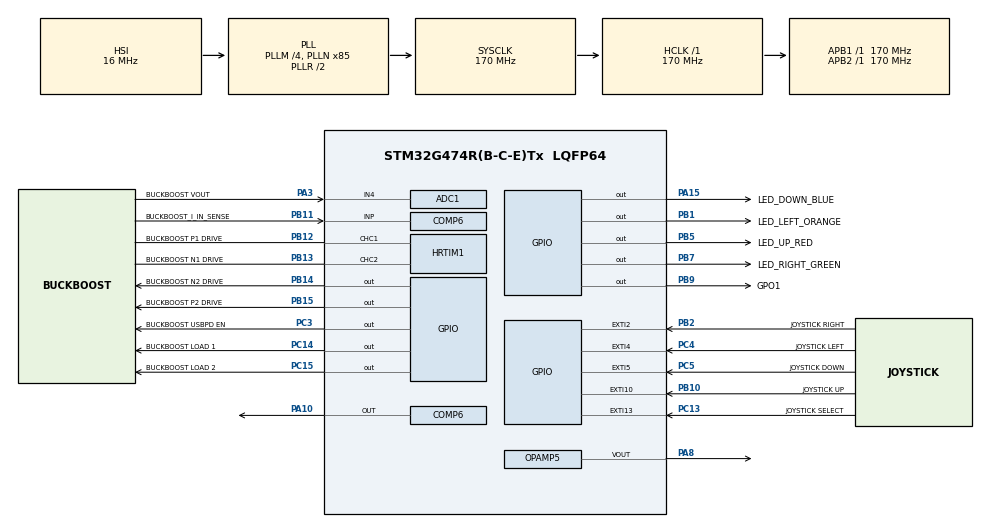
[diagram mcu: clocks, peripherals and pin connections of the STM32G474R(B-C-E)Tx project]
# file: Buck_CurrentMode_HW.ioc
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ADC1.Channel-0\#ChannelRegularConversion=ADC_CHANNEL_4
ADC1.DMAContinuousRequests=ENABLE
ADC1.DataAlign=ADC_DATAALIGN_LEFT
ADC1.ExternalTrigConv=ADC_EXTERNALTRIG_HRTIM_TRG1
ADC1.NbrOfConversionFlag=1
ADC1.Offset-0\#ChannelRegularConversion=REF
ADC1.OffsetNumber-0\#ChannelRegularConversion=ADC_OFFSET_1
ADC1.Overrun=ADC_OVR_DATA_OVERWRITTEN
ADC1.Rank-0\#ChannelRegularConversion=1
ADC1.SamplingTime-0\#ChannelRegularConversion=ADC_SAMPLETIME_2CYCLES_5
ADC1.master=1
COMP6.Hysteresis=COMP_HYSTERESIS_NONE
COMP6.OutputPol=COMP_OUTPUTPOL_INVERTED
DAC4.DAC_Channel-DAC_OUT2_Int=DAC_CHANNEL_2
DAC4.DAC_Trigger2_OUT2-DAC_OUT2_Int=DAC_TRIGGER_HRTIM_STEP_TRG3
DAC4.DAC_Trigger_OUT2-DAC_OUT2_Int=DAC_TRIGGER_HRTIM_RST_TRG3
DAC4.ResetDataSawtooth2-DAC_OUT2_Int=4000
DAC4.StepDataSawtooth2-DAC_OUT2_Int=66
DAC4.WaveGeneration_OUT2-DAC_OUT2_Int=SawtoothWaveGenerate
Dma.ADC1.0.Direction=DMA_PERIPH_TO_MEMORY
Dma.ADC1.0.EventEnable=DISABLE
Dma.ADC1.0.Instance=DMA1_Channel1
Dma.ADC1.0.MemDataAlignment=DMA_MDATAALIGN_WORD
Dma.ADC1.0.MemInc=DMA_MINC_DISABLE
Dma.ADC1.0.Mode=DMA_CIRCULAR
Dma.ADC1.0.PeriphDataAlignment=DMA_PDATAALIGN_WORD
Dma.ADC1.0.PeriphInc=DMA_PINC_DISABLE
Dma.ADC1.0.Polarity=HAL_DMAMUX_REQ_GEN_RISING
Dma.ADC1.0.Priority=DMA_PRIORITY_LOW
Dma.ADC1.0.RequestNumber=1
Dma.ADC1.0.SignalID=HAL_DMAMUX1_REQ_GEN_EXTI2
Dma.ADC1.0.SyncEnable=DISABLE
Dma.ADC1.0.SyncPolarity=HAL_DMAMUX_SYNC_NO_EVENT
Dma.ADC1.0.SyncRequestNumber=1
Dma.ADC1.0.SyncSignalID=NONE
Dma.Request0=ADC1
HRTIM1.ADCTrigger1_Source1=HRTIM_ADCTRIGGEREVENT13_TIMERC_CMP3
HRTIM1.ADCTrigger_Id1=HRTIM_ADCTRIGGER_1
HRTIM1.CompareUnit1-Output_TC1TC2=HRTIM_COMPAREUNIT_1
HRTIM1.CompareUnit2-Output_TC1TC2=HRTIM_COMPAREUNIT_2
HRTIM1.CompareUnit3-Output_TC1TC2=HRTIM_COMPAREUNIT_3
HRTIM1.CompareUnit4-Output_TC1TC2=HRTIM_COMPAREUNIT_4
HRTIM1.CompareValue1-Output_TC1TC2=21760
HRTIM1.CompareValue2-Output_TC1TC2=1000
HRTIM1.CompareValue3-Output_TC1TC2=2720
HRTIM1.CompareValue4-Output_TC1TC2=1088
HRTIM1.DeadTimeInsertion-Output_TC1TC2=HRTIM_TIMDEADTIMEINSERTION_ENABLED
HRTIM1.DualChannelDacEnableFake_TC-Output_TC1TC2=HRTIM_TIMER_DCDE_ENABLED_FAKE1
HRTIM1.Event3-Output_TC1TC2=HRTIM_EVENT_3
HRTIM1.Event_EEV3=HRTIM_EVENT_3
HRTIM1.FallingValue-Output_TC1TC2=300
HRTIM1.FaultLevel1-Output_TC1TC2=HRTIM_OUTPUTFAULTLEVEL_INACTIVE
HRTIM1.Fault_Line1=__NULL
HRTIM1.Filter3-Output_TC1TC2=HRTIM_TIMEEVFLT_BLANKINGCMP3
HRTIM1.NumberADCTriggerSource1=1
HRTIM1.NumberResetSource1-Output_TC1TC2=2
HRTIM1.NumberSetSource1-Output_TC1TC2=1
HRTIM1.Periode_TC=27200
HRTIM1.ResetOutput1_Source1-Output_TC1TC2=HRTIM_OUTPUTRESET_TIMCMP1
HRTIM1.ResetOutput1_Source2-Output_TC1TC2=HRTIM_OUTPUTRESET_EEV_3
HRTIM1.RisingValue-Output_TC1TC2=75
HRTIM1.SetOutput1_Source1-Output_TC1TC2=HRTIM_OUTPUTSET_TIMCMP4
Mcu.Family=STM32G4
Mcu.Name=STM32G474R(B-C-E)Tx
Mcu.Package=LQFP64
NVIC.ADC1_2_IRQn=true\:0\:0\:false\:false\:true\:true\:false
NVIC.DMA1_Channel1_IRQn=true\:0\:0\:false\:false\:false\:false\:false
NVIC.EXTI15_10_IRQn=true\:0\:0\:false\:false\:true\:true\:true
NVIC.EXTI2_IRQn=true\:0\:0\:false\:false\:true\:true\:true
NVIC.EXTI4_IRQn=true\:0\:0\:false\:false\:true\:true\:true
NVIC.EXTI9_5_IRQn=true\:0\:0\:false\:false\:true\:true\:true
NVIC.FMAC_IRQn=true\:0\:0\:false\:false\:true\:true\:false
NVIC.PriorityGroup=NVIC_PRIORITYGROUP_4
PA1.GPIO_Label=BUCKBOOST VIN
PA1.Signal=ADC1_IN2
PA10.Mode=ExternalOutput
PA10.Signal=COMP6_OUT
PA13.GPIO_Label=T_SWDIO
PA13.Mode=Trace_Asynchronous_SW
PA13.Signal=SYS_JTMS-SWDIO
PA14.GPIO_Label=T_SWCLK
PA14.Mode=Trace_Asynchronous_SW
PA14.Signal=SYS_JTCK-SWCLK
PA15.GPIO_Label=LED_DOWN_BLUE
PA15.GPIO_PuPd=GPIO_NOPULL
PA15.Signal=GPIO_Output
PA2.GPIO_Label=BUCKBOOST I IN AVG
PA2.Signal=ADC1_IN3
PA3.GPIO_Label=BUCKBOOST VOUT
PA3.Mode=IN4-Single-Ended
PA3.Signal=ADC1_IN4
PA8.Mode=Follower-DAC_OUT2-INP
PA8.Signal=OPAMP5_VOUT
PB1.GPIO_Label=LED_LEFT_ORANGE
PB1.GPIO_PuPd=GPIO_NOPULL
PB1.Signal=GPIO_Output
PB10.GPIO_Label=JOYSTICK UP
PB10.GPIO_PuPd=GPIO_PULLUP
PB10.Signal=GPXTI10
PB11.GPIO_Label=BUCKBOOST_I_IN_SENSE
PB11.Mode=INP
PB11.Signal=COMP6_INP
PB12.GPIO_Label=BUCKBOOST P1 DRIVE
PB12.Mode=Output_TC1TC2
PB12.Signal=HRTIM1_CHC1
PB13.GPIO_Label=BUCKBOOST N1 DRIVE
PB13.Mode=Output_TC1TC2
PB13.Signal=HRTIM1_CHC2
PB14.GPIO_Label=BUCKBOOST N2 DRIVE
PB14.Signal=GPIO_Output
PB15.GPIO_Label=BUCKBOOST P2 DRIVE
PB15.Signal=GPIO_Output
PB2.GPIO_Label=JOYSTICK RIGHT
PB2.GPIO_ModeDefaultEXTI=GPIO_MODE_IT_RISING
PB2.GPIO_PuPd=GPIO_PULLUP
PB2.Signal=GPXTI2
PB3.GPIO_Label=T_SWO
PB3.Mode=Trace_Asynchronous_SW
PB3.Signal=SYS_JTDO-SWO
PB5.GPIO_Label=LED_UP_RED
PB5.GPIO_PuPd=GPIO_NOPULL
PB5.Signal=GPIO_Output
PB7.GPIO_Label=LED_RIGHT_GREEN
PB7.GPIO_PuPd=GPIO_NOPULL
PB7.Signal=GPIO_Output
PB9.GPIO_Label=GPO1
PB9.GPIO_Speed=GPIO_SPEED_FREQ_VERY_HIGH
PB9.Signal=GPIO_Output
PC10.Signal=USART3_TX
PC11.Signal=USART3_RX
PC13.GPIO_Label=JOYSTICK SELECT
PC13.GPIO_PuPd=GPIO_PULLUP
PC13.Signal=GPXTI13
PC14-OSC32_IN.GPIO_Label=BUCKBOOST LOAD 1
PC14-OSC32_IN.Signal=GPIO_Output
PC15-OSC32_OUT.GPIO_Label=BUCKBOOST LOAD 2
PC15-OSC32_OUT.Signal=GPIO_Output
PC3.GPIO_Label=BUCKBOOST USBPD EN
PC3.PinState=GPIO_PIN_SET
PC3.Signal=GPIO_Output
PC4.GPIO_Label=JOYSTICK LEFT
PC4.GPIO_PuPd=GPIO_PULLUP
PC4.Signal=GPXTI4
PC5.GPIO_Label=JOYSTICK DOWN
PC5.GPIO_PuPd=GPIO_PULLUP
PC5.Signal=GPXTI5
ProjectManager.HeapSize=0x200
ProjectManager.StackSize=0x400
ProjectManager.TargetToolchain=EWARM V8.32
RCC.ADC12CLockSelection=RCC_ADC12CLKSOURCE_PLL
RCC.ADC12Freq_Value=56666666.666666664
RCC.ADC345Freq_Value=170000000
RCC.AHBFreq_Value=170000000
RCC.APB1Freq_Value=170000000
RCC.APB1TimFreq_Value=170000000
RCC.APB2Freq_Value=170000000
RCC.APB2TimFreq_Value=170000000
RCC.CortexFreq_Value=170000000
RCC.EXTERNAL_CLOCK_VALUE=12288000
RCC.HCLKFreq_Value=170000000
RCC.HSE_VALUE=24000000
RCC.HSI48_VALUE=48000000
RCC.HSI_VALUE=16000000
RCC.LSE_VALUE=32768
RCC.PLLM=RCC_PLLM_DIV4
RCC.PLLN=85
RCC.PLLP=RCC_PLLP_DIV6
RCC.SYSCLKFreq_VALUE=170000000
RCC.SYSCLKSource=RCC_SYSCLKSOURCE_PLLCLK
RCC.USBFreq_Value=170000000
RCC.VCOOutputFreq_Value=340000000
VP_COMP6_VS_DAC4OUT2.Mode=INM_DAC4OUT2
VP_DAC4_VS_DACI2.Mode=DAC_OUT2_Int
VP_FMAC_VS_FMAC.Mode=FMAC_Activate
VP_RTC_VS_RTC_Activate.Mode=RTC_Enabled
VP_SYS_VS_DBSignals.Mode=DisableDeadBatterySignals
board=NUCLEO-G474RE

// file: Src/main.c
/* USER CODE BEGIN Header */
/**
  ******************************************************************************
  * @file           : main.c
  * @brief          : Main program body
  ******************************************************************************
  * @attention
  *
  * <h2><center>&copy; Copyright (c) 2019 STMicroelectronics.
  * All rights reserved.</center></h2>
  *
  * This software component is licensed by ST under BSD 3-Clause license,
  * the "License"; You may not use this file except in compliance with the
  * License. You may obtain a copy of the License at:
  *                        opensource.org/licenses/BSD-3-Clause
  *
  ******************************************************************************
  */
/* USER CODE END Header */

#include "main.h"

/* USER CODE BEGIN Includes */
#include "../../common/STM32G474RE_Discovery.c"
#include "stm32g4xx_it.h"
/* USER CODE END Includes */

/* USER CODE BEGIN PD */
//#define RUN_OPEN_LOOP
/* USER CODE END PD */

ADC_HandleTypeDef hadc1;
DMA_HandleTypeDef hdma_adc1;

COMP_HandleTypeDef hcomp6;

DAC_HandleTypeDef hdac4;

FMAC_HandleTypeDef hfmac;

HRTIM_HandleTypeDef hhrtim1;

OPAMP_HandleTypeDef hopamp5;

RTC_HandleTypeDef hrtc;

/* USER CODE BEGIN PV */
float Vdrop = SLOPE_VPP;
float Vdrop_old = 0.0;
extern G4_Demo_t Demo;

/* FMAC configuration structure */
FMAC_FilterConfigTypeDef sFmacConfig;
DMA_HandleTypeDef hdma_fmac_read;

/* Array of filter coefficients A (feedback coefficients) in Q1.15 format */
static int16_t aFilterCoeffA[COEFF_VECTOR_A_SIZE] = {A1,A2};

/* Array of filter coefficients B (feed-forward taps) in Q1.15 format */
static int16_t aFilterCoeffB[COEFF_VECTOR_B_SIZE] = {(int16_t)-B0,(int16_t)-B1,(int16_t)-B2};

/* Array of output data to preload in Q1.15 format */
static int16_t aOutputDataToPreload[COEFF_VECTOR_A_SIZE] = {0x0000, 0x0000};

/* Expected number of calculated samples */
uint16_t ExpectedCalculatedOutputSize = (uint16_t) 1;
uint32_t *Fmac_Wdata;
int16_t Fmac_output;
int16_t bTransient = 0;

/* USER CODE END PV */

void SystemClock_Config(void);
static void MX_GPIO_Init(void);
static void MX_DMA_Init(void);
static void MX_RTC_Init(void);
static void MX_ADC1_Init(void);
static void MX_HRTIM1_Init(void);
static void MX_FMAC_Init(void);
static void MX_COMP6_Init(void);
static void MX_DAC4_Init(void);
static void MX_OPAMP5_Init(void);
/* USER CODE BEGIN PFP */
extern uint16_t HAL_HRTIM_NsToTicks(HRTIM_HandleTypeDef *hhrtim, uint32_t Timers, int ns);
extern uint16_t HAL_HRTIM_FreqToTicks(HRTIM_HandleTypeDef *hhrtim, uint32_t Timers, int FreqHz);
extern uint16_t HAL_HRTIM_DeadBandNsToTicks(int ns);

/* USER CODE END PFP */

/* USER CODE BEGIN 0 */

/* USER CODE BEGIN 0 */
/**
  * @brief This function handles the loads.
  */
void LoadHandler(void)
{
  switch (Demo.NbrActiveLoad)
  {
  case 2:
    /* Enable Load_1 */
    HAL_GPIO_WritePin(GPIOC, BUCKBOOST_LOAD_1_Pin, GPIO_PIN_SET);
    HAL_GPIO_WritePin(GPIOB, LED_RIGHT_GREEN_Pin, GPIO_PIN_SET);
    /* Enable Load_2 */
    HAL_GPIO_WritePin(GPIOC, BUCKBOOST_LOAD_2_Pin, GPIO_PIN_SET);
    HAL_GPIO_WritePin(GPIOB, LED_LEFT_ORANGE_Pin, GPIO_PIN_SET);
    break;
  case 1:
    /* Enable Load_1 */
    HAL_GPIO_WritePin(GPIOC, BUCKBOOST_LOAD_1_Pin, GPIO_PIN_SET);
    HAL_GPIO_WritePin(GPIOB, LED_RIGHT_GREEN_Pin, GPIO_PIN_SET);
    /* Disable Load_2 */
    HAL_GPIO_WritePin(GPIOC, BUCKBOOST_LOAD_2_Pin, GPIO_PIN_RESET);
    HAL_GPIO_WritePin(GPIOB, LED_LEFT_ORANGE_Pin, GPIO_PIN_RESET);
    break;
  case 0:
  default:
    /* Disable Load_1 */
    HAL_GPIO_WritePin(GPIOC, BUCKBOOST_LOAD_1_Pin, GPIO_PIN_RESET);
    HAL_GPIO_WritePin(GPIOB, LED_RIGHT_GREEN_Pin, GPIO_PIN_RESET);
    /* Disable Load_2 */
    HAL_GPIO_WritePin(GPIOC, BUCKBOOST_LOAD_2_Pin, GPIO_PIN_RESET);
    HAL_GPIO_WritePin(GPIOB, LED_LEFT_ORANGE_Pin, GPIO_PIN_RESET);
    break;
  }
}

/**
  * @brief This function handles System tick timer.
  */
void SysTick_Handler(void)
{
  /* USER CODE BEGIN SysTick_IRQn 0 */

  // If ~512 ms has elapsed, check if we are doing transient load mode
  // and run the load handler
  if (0 == HAL_GetTick() % 512)
  {
    if (Demo.bTransient == 1)
    {
      if (Demo.NbrActiveLoad == 1)
      {
        Demo.NbrActiveLoad = 2;
      }
      else
      {
        Demo.NbrActiveLoad = 1;
      }

      LoadHandler();
    }
  }

  /* USER CODE END SysTick_IRQn 0 */
  HAL_IncTick();
  /* USER CODE BEGIN SysTick_IRQn 1 */

  /* USER CODE END SysTick_IRQn 1 */
}

/**
  * @brief This set the slope for the DAC.
  * @details
  * The sets the total drop across the PWM period required.
  * We use DAC1 channel 1&2 since channel 1 is connected to the external pin
  * but channel 2 is actually used for the controller.
  */
void SetRamp( float SlopeV )
{
  uint16_t update;
  float stepV;
  uint16_t step;
  uint16_t NumUpdates = 75; // Max updates per period is determiend by the max update rate of the DAC

  update = Demo.periodBuck / NumUpdates;
  stepV = SlopeV/NumUpdates;

  /* DacDrop = (Vdrop * 4096*16(fractional)/3.3V) */
  step = (uint16_t)((stepV * DAC_MAX * 16)/3.3);

  /* Update the sawtooth waveform generator with the required step size */
  LL_DAC_SetWaveSawtoothStepData(DAC4, LL_DAC_CHANNEL_2, step);
  __HAL_HRTIM_SETCOMPARE( &hhrtim1, HRTIM_TIMERINDEX_TIMER_C, HRTIM_COMPAREUNIT_2, update);
}

void ConfigFmac2p2z( void )
{

  /* Configure the FMAC peripheral */
  sFmacConfig.InputBaseAddress  = INPUT_BUFFER_BASE;
  sFmacConfig.InputBufferSize   = INPUT_BUFFER_SIZE;
  sFmacConfig.InputThreshold    = INPUT_THRESHOLD;
  sFmacConfig.CoeffBaseAddress  = COEFFICIENT_BUFFER_BASE;
  sFmacConfig.CoeffBufferSize   = COEFFICIENT_BUFFER_SIZE;
  sFmacConfig.OutputBaseAddress = OUTPUT_BUFFER_BASE;
  sFmacConfig.OutputBufferSize  = OUTPUT_BUFFER_SIZE;
  sFmacConfig.OutputThreshold   = OUTPUT_THRESHOLD;
  sFmacConfig.pCoeffA           = aFilterCoeffA;
  sFmacConfig.CoeffASize        = COEFF_VECTOR_A_SIZE;
  sFmacConfig.pCoeffB           = aFilterCoeffB;
  sFmacConfig.CoeffBSize        = COEFF_VECTOR_B_SIZE;
  sFmacConfig.Filter            = FMAC_FUNC_IIR_DIRECT_FORM_1;
  sFmacConfig.InputAccess       = FMAC_BUFFER_ACCESS_NONE;
  sFmacConfig.OutputAccess      = FMAC_BUFFER_ACCESS_IT;
  sFmacConfig.Clip              = FMAC_CLIP_ENABLED;
  sFmacConfig.P                 = COEFF_VECTOR_B_SIZE;
  sFmacConfig.Q                 = COEFF_VECTOR_A_SIZE;
  sFmacConfig.R                 = post_shift;

  if (HAL_FMAC_FilterConfig(&hfmac, &sFmacConfig) != HAL_OK)
  {
    /* Configuration Error */
    Error_Handler();
  }

  /* Preload the input and output buffers */
  if (HAL_FMAC_FilterPreload(&hfmac, NULL, INPUT_BUFFER_SIZE,
                           aOutputDataToPreload, COEFF_VECTOR_A_SIZE) != HAL_OK)
  {
    /* Configuration Error */
    Error_Handler();
  }
  /* Start calculation of IIR filter */
   if (HAL_FMAC_FilterStart(&hfmac,&Fmac_output,&ExpectedCalculatedOutputSize) != HAL_OK)
  {
    /* Processing Error */
    Error_Handler();
  }

  /* We want to disable over and underrun so if we hit a breakpoint we can continue*/
  __HAL_FMAC_DISABLE_IT(&hfmac, FMAC_IT_OVFLIEN|FMAC_IT_UNFLIEN);

}
/* USER CODE END 0 */

int main(void)
{

  /* MCU Configuration--------------------------------------------------------*/

  /* Reset of all peripherals, Initializes the Flash interface and the Systick. */
  HAL_Init();

  /* Configure the system clock */
  SystemClock_Config();

  /* Initialize all configured peripherals */
  MX_GPIO_Init();
  MX_DMA_Init();
  MX_RTC_Init();
  MX_ADC1_Init();
  MX_HRTIM1_Init();
  MX_FMAC_Init();
  MX_COMP6_Init();
  MX_DAC4_Init();
  MX_OPAMP5_Init();
  /* USER CODE BEGIN 2 */

  /* Perform an ADC automatic self-calibration and enable ADC */
  if (HAL_ADCEx_Calibration_Start(&hadc1, ADC_SINGLE_ENDED) != HAL_OK)
  {
    /* Configuration Error */
    Error_Handler();
  }

  /* Configure and start FMAC */
  ConfigFmac2p2z();

#ifndef RUN_OPEN_LOOP
  /* Start the DMA which is used to move ADC result to the FMAC */
  if (HAL_ADC_Start_DMA(&hadc1, (uint32_t *) &hfmac.Instance->WDATA, 1) != HAL_OK)
  {
    /* Configuration Error */
    Error_Handler();
  }
#endif

  /* Disable the DMA interrupts */
  __HAL_DMA_DISABLE_IT(&hdma_adc1, DMA_IT_HT | DMA_IT_TC );

  /* Enables DAC and starts conversion of the channel */
  if (HAL_DAC_Start(&hdac4, DAC_CHANNEL_2) != HAL_OK)
  {
    /* Configuration Error */
    Error_Handler();
  }

  /* Start the comparator to detect the peak current trip threshold */
  if (HAL_COMP_Start(&hcomp6) != HAL_OK)
  {
    /* Configuration Error */
    Error_Handler();
  }

  /* Start the OPAMP which allows us to view the demand peak current value on the scope */
  if (HAL_OPAMP_Start(&hopamp5) != HAL_OK)
  {
    /* Configuration Error */
    Error_Handler();
  }

  /* Calculate PWM period and update timer register */
  Demo.periodBuck = HAL_HRTIM_FreqToTicks(&hhrtim1, HRTIM_TIMERINDEX_TIMER_C, SwitchFreq);
  __HAL_HRTIM_SETPERIOD(&hhrtim1, HRTIM_TIMERINDEX_TIMER_C, Demo.periodBuck);

#ifdef RUN_OPEN_LOOP
  /* Open loop so run with a small fixed duty cycle */
  __HAL_HRTIM_SETCOMPARE(&hhrtim1, HRTIM_TIMERINDEX_TIMER_C, HRTIM_COMPAREUNIT_1, Demo.periodBuck * 5 / 100);
#else
  /* Set max duty to 80% of period */
  __HAL_HRTIM_SETCOMPARE(&hhrtim1, HRTIM_TIMERINDEX_TIMER_C, HRTIM_COMPAREUNIT_1, Demo.periodBuck * 80 / 100);
#endif
  /* Set number of slope compensation steps per period to 75 */
  __HAL_HRTIM_SETCOMPARE(&hhrtim1, HRTIM_TIMERINDEX_TIMER_C, HRTIM_COMPAREUNIT_2, Demo.periodBuck / 75);
  /* Set blanking period */
  __HAL_HRTIM_SETCOMPARE(&hhrtim1, HRTIM_TIMERINDEX_TIMER_C, HRTIM_COMPAREUNIT_3, HAL_HRTIM_NsToTicks(&hhrtim1, HRTIM_TIMERINDEX_TIMER_C,500)); // Allow 300ns for blanking + 200ns for rising edge delay
  /* Set PWM rising edge to 200ns after the start of the period */
  __HAL_HRTIM_SETCOMPARE(&hhrtim1, HRTIM_TIMERINDEX_TIMER_C, HRTIM_COMPAREUNIT_4, HAL_HRTIM_NsToTicks(&hhrtim1, HRTIM_TIMERINDEX_TIMER_C,200)); //200ns after start of period

  /* Start the PWMs */
  HAL_HRTIM_WaveformOutputStart(&hhrtim1, HRTIM_OUTPUT_TC1 | HRTIM_OUTPUT_TC2); // Enable output
  HAL_HRTIM_WaveformCounterStart(&hhrtim1, HRTIM_TIMERID_TIMER_C); // Enable counter

  /* Enable T6 for Buck only mode usage */
  HAL_GPIO_WritePin(GPIOB, BUCKBOOST_P2_DRIVE_Pin, GPIO_PIN_SET);

  /* USER CODE END 2 */

  /* Infinite loop */
  /* USER CODE BEGIN WHILE */
  while (1)
  {
    if (bTransient)
    {
      // Toggle blue LED
      HAL_GPIO_WritePin(GPIOA, LED_DOWN_BLUE_Pin, GPIO_PIN_SET);

      // Toggle both loads
      HAL_GPIO_TogglePin(GPIOC, BUCKBOOST_LOAD_1_Pin);
      HAL_GPIO_TogglePin(GPIOC, BUCKBOOST_LOAD_2_Pin);
      HAL_GPIO_TogglePin(GPIOB, LED_RIGHT_GREEN_Pin);
      HAL_GPIO_TogglePin(GPIOB, LED_LEFT_ORANGE_Pin);

      // Delay
      HAL_Delay(500);
    } else {
      // Clear blue LED
      HAL_GPIO_WritePin(GPIOA, LED_DOWN_BLUE_Pin, GPIO_PIN_RESET);
    }

	/* If the user has updated the amount of slope compensation then call SetRamp() to update slope generator */
    if (Vdrop != Vdrop_old)
    {
      SetRamp( Vdrop );
      Vdrop_old = Vdrop;
    }

    /* USER CODE END WHILE */

  }
}

void SystemClock_Config(void)
{
  RCC_OscInitTypeDef RCC_OscInitStruct = {0};
  RCC_ClkInitTypeDef RCC_ClkInitStruct = {0};
  RCC_PeriphCLKInitTypeDef PeriphClkInit = {0};

  /** Configure the main internal regulator output voltage
  */
  HAL_PWREx_ControlVoltageScaling(PWR_REGULATOR_VOLTAGE_SCALE1_BOOST);
  /** Initializes the CPU, AHB and APB busses clocks
  */
  RCC_OscInitStruct.OscillatorType = RCC_OSCILLATORTYPE_HSI|RCC_OSCILLATORTYPE_LSI;
  RCC_OscInitStruct.HSIState = RCC_HSI_ON;
  RCC_OscInitStruct.HSICalibrationValue = RCC_HSICALIBRATION_DEFAULT;
  RCC_OscInitStruct.LSIState = RCC_LSI_ON;
  RCC_OscInitStruct.PLL.PLLState = RCC_PLL_ON;
  RCC_OscInitStruct.PLL.PLLSource = RCC_PLLSOURCE_HSI;
  RCC_OscInitStruct.PLL.PLLM = RCC_PLLM_DIV4;
  RCC_OscInitStruct.PLL.PLLN = 85;
  RCC_OscInitStruct.PLL.PLLP = RCC_PLLP_DIV6;
  RCC_OscInitStruct.PLL.PLLQ = RCC_PLLQ_DIV2;
  RCC_OscInitStruct.PLL.PLLR = RCC_PLLR_DIV2;
  if (HAL_RCC_OscConfig(&RCC_OscInitStruct) != HAL_OK)
  {
    Error_Handler();
  }
  /** Initializes the CPU, AHB and APB busses clocks
  */
  RCC_ClkInitStruct.ClockType = RCC_CLOCKTYPE_HCLK|RCC_CLOCKTYPE_SYSCLK
                              |RCC_CLOCKTYPE_PCLK1|RCC_CLOCKTYPE_PCLK2;
  RCC_ClkInitStruct.SYSCLKSource = RCC_SYSCLKSOURCE_PLLCLK;
  RCC_ClkInitStruct.AHBCLKDivider = RCC_SYSCLK_DIV1;
  RCC_ClkInitStruct.APB1CLKDivider = RCC_HCLK_DIV1;
  RCC_ClkInitStruct.APB2CLKDivider = RCC_HCLK_DIV1;

  if (HAL_RCC_ClockConfig(&RCC_ClkInitStruct, FLASH_LATENCY_8) != HAL_OK)
  {
    Error_Handler();
  }
  /** Initializes the peripherals clocks
  */
  PeriphClkInit.PeriphClockSelection = RCC_PERIPHCLK_RTC|RCC_PERIPHCLK_ADC12;
  PeriphClkInit.Adc12ClockSelection = RCC_ADC12CLKSOURCE_PLL;
  PeriphClkInit.RTCClockSelection = RCC_RTCCLKSOURCE_LSI;
  if (HAL_RCCEx_PeriphCLKConfig(&PeriphClkInit) != HAL_OK)
  {
    Error_Handler();
  }
}

static void MX_ADC1_Init(void)
{

  ADC_MultiModeTypeDef multimode = {0};
  ADC_ChannelConfTypeDef sConfig = {0};

  /** Common config
  */
  hadc1.Instance = ADC1;
  hadc1.Init.ClockPrescaler = ADC_CLOCK_ASYNC_DIV1;
  hadc1.Init.Resolution = ADC_RESOLUTION_12B;
  hadc1.Init.DataAlign = ADC_DATAALIGN_LEFT;
  hadc1.Init.GainCompensation = 0;
  hadc1.Init.ScanConvMode = ADC_SCAN_DISABLE;
  hadc1.Init.EOCSelection = ADC_EOC_SINGLE_CONV;
  hadc1.Init.LowPowerAutoWait = DISABLE;
  hadc1.Init.ContinuousConvMode = DISABLE;
  hadc1.Init.NbrOfConversion = 1;
  hadc1.Init.DiscontinuousConvMode = DISABLE;
  hadc1.Init.ExternalTrigConv = ADC_EXTERNALTRIG_HRTIM_TRG1;
  hadc1.Init.ExternalTrigConvEdge = ADC_EXTERNALTRIGCONVEDGE_RISING;
  hadc1.Init.DMAContinuousRequests = ENABLE;
  hadc1.Init.Overrun = ADC_OVR_DATA_OVERWRITTEN;
  hadc1.Init.OversamplingMode = DISABLE;
  if (HAL_ADC_Init(&hadc1) != HAL_OK)
  {
    Error_Handler();
  }
  /** Configure the ADC multi-mode
  */
  multimode.Mode = ADC_MODE_INDEPENDENT;
  if (HAL_ADCEx_MultiModeConfigChannel(&hadc1, &multimode) != HAL_OK)
  {
    Error_Handler();
  }
  /** Configure Regular Channel
  */
  sConfig.Channel = ADC_CHANNEL_4;
  sConfig.Rank = ADC_REGULAR_RANK_1;
  sConfig.SamplingTime = ADC_SAMPLETIME_2CYCLES_5;
  sConfig.SingleDiff = ADC_SINGLE_ENDED;
  sConfig.OffsetNumber = ADC_OFFSET_1;
  sConfig.Offset = REF;
  sConfig.OffsetSign = ADC_OFFSET_SIGN_NEGATIVE;
  sConfig.OffsetSaturation = DISABLE;
  if (HAL_ADC_ConfigChannel(&hadc1, &sConfig) != HAL_OK)
  {
    Error_Handler();
  }

}

static void MX_COMP6_Init(void)
{

  hcomp6.Instance = COMP6;
  hcomp6.Init.InputPlus = COMP_INPUT_PLUS_IO1;
  hcomp6.Init.InputMinus = COMP_INPUT_MINUS_DAC4_CH2;
  hcomp6.Init.OutputPol = COMP_OUTPUTPOL_INVERTED;
  hcomp6.Init.Hysteresis = COMP_HYSTERESIS_NONE;
  hcomp6.Init.BlankingSrce = COMP_BLANKINGSRC_NONE;
  hcomp6.Init.TriggerMode = COMP_TRIGGERMODE_NONE;
  if (HAL_COMP_Init(&hcomp6) != HAL_OK)
  {
    Error_Handler();
  }

}

static void MX_DAC4_Init(void)
{

  DAC_ChannelConfTypeDef sConfig = {0};

  /** DAC Initialization
  */
  hdac4.Instance = DAC4;
  if (HAL_DAC_Init(&hdac4) != HAL_OK)
  {
    Error_Handler();
  }
  /** DAC channel OUT2 config
  */
  sConfig.DAC_HighFrequency = DAC_HIGH_FREQUENCY_INTERFACE_MODE_AUTOMATIC;
  sConfig.DAC_DMADoubleDataMode = DISABLE;
  sConfig.DAC_SignedFormat = DISABLE;
  sConfig.DAC_SampleAndHold = DAC_SAMPLEANDHOLD_DISABLE;
  sConfig.DAC_Trigger = DAC_TRIGGER_HRTIM_RST_TRG3;
  sConfig.DAC_Trigger2 = DAC_TRIGGER_HRTIM_STEP_TRG3;
  sConfig.DAC_OutputBuffer = DAC_OUTPUTBUFFER_DISABLE;
  sConfig.DAC_ConnectOnChipPeripheral = DAC_CHIPCONNECT_ENABLE;
  sConfig.DAC_UserTrimming = DAC_TRIMMING_FACTORY;
  if (HAL_DAC_ConfigChannel(&hdac4, &sConfig, DAC_CHANNEL_2) != HAL_OK)
  {
    Error_Handler();
  }
  /** Configure Sawtooth wave generation on DAC OUT2
  */
  if (HAL_DACEx_SawtoothWaveGenerate(&hdac4, DAC_CHANNEL_2, DAC_SAWTOOTH_POLARITY_DECREMENT, 4000, 66) != HAL_OK)
  {
    Error_Handler();
  }

}

static void MX_FMAC_Init(void)
{

  hfmac.Instance = FMAC;
  if (HAL_FMAC_Init(&hfmac) != HAL_OK)
  {
    Error_Handler();
  }

}

static void MX_HRTIM1_Init(void)
{

  HRTIM_EventCfgTypeDef pEventCfg = {0};
  HRTIM_ADCTriggerCfgTypeDef pADCTriggerCfg = {0};
  HRTIM_TimeBaseCfgTypeDef pTimeBaseCfg = {0};
  HRTIM_TimerCtlTypeDef pTimerCtl = {0};
  HRTIM_TimerCfgTypeDef pTimerCfg = {0};
  HRTIM_CompareCfgTypeDef pCompareCfg = {0};
  HRTIM_TimerEventFilteringCfgTypeDef pTimerEventFilteringCfg = {0};
  HRTIM_DeadTimeCfgTypeDef pDeadTimeCfg = {0};
  HRTIM_OutputCfgTypeDef pOutputCfg = {0};

  hhrtim1.Instance = HRTIM1;
  hhrtim1.Init.HRTIMInterruptResquests = HRTIM_IT_NONE;
  hhrtim1.Init.SyncOptions = HRTIM_SYNCOPTION_NONE;
  if (HAL_HRTIM_Init(&hhrtim1) != HAL_OK)
  {
    Error_Handler();
  }
  if (HAL_HRTIM_DLLCalibrationStart(&hhrtim1, HRTIM_CALIBRATIONRATE_3) != HAL_OK)
  {
    Error_Handler();
  }
  if (HAL_HRTIM_PollForDLLCalibration(&hhrtim1, 10) != HAL_OK)
  {
    Error_Handler();
  }
  if (HAL_HRTIM_EventPrescalerConfig(&hhrtim1, HRTIM_EVENTPRESCALER_DIV1) != HAL_OK)
  {
    Error_Handler();
  }
  pEventCfg.Source = HRTIM_EEV3SRC_COMP6_OUT;
  pEventCfg.Polarity = HRTIM_EVENTPOLARITY_HIGH;
  pEventCfg.Sensitivity = HRTIM_EVENTSENSITIVITY_LEVEL;
  pEventCfg.FastMode = HRTIM_EVENTFASTMODE_DISABLE;
  if (HAL_HRTIM_EventConfig(&hhrtim1, HRTIM_EVENT_3, &pEventCfg) != HAL_OK)
  {
    Error_Handler();
  }
  pADCTriggerCfg.UpdateSource = HRTIM_ADCTRIGGERUPDATE_TIMER_C;
  pADCTriggerCfg.Trigger = HRTIM_ADCTRIGGEREVENT13_TIMERC_CMP3;
  if (HAL_HRTIM_ADCTriggerConfig(&hhrtim1, HRTIM_ADCTRIGGER_1, &pADCTriggerCfg) != HAL_OK)
  {
    Error_Handler();
  }
  if (HAL_HRTIM_ADCPostScalerConfig(&hhrtim1, HRTIM_ADCTRIGGER_1, 0x0) != HAL_OK)
  {
    Error_Handler();
  }
  pTimeBaseCfg.Period = 27200;
  pTimeBaseCfg.RepetitionCounter = 0x00;
  pTimeBaseCfg.PrescalerRatio = HRTIM_PRESCALERRATIO_MUL32;
  pTimeBaseCfg.Mode = HRTIM_MODE_CONTINUOUS;
  if (HAL_HRTIM_TimeBaseConfig(&hhrtim1, HRTIM_TIMERINDEX_TIMER_C, &pTimeBaseCfg) != HAL_OK)
  {
    Error_Handler();
  }
  pTimerCtl.UpDownMode = HRTIM_TIMERUPDOWNMODE_UP;
  pTimerCtl.TrigHalf = HRTIM_TIMERTRIGHALF_DISABLED;
  pTimerCtl.GreaterCMP3 = HRTIM_TIMERGTCMP3_EQUAL;
  pTimerCtl.GreaterCMP1 = HRTIM_TIMERGTCMP1_EQUAL;
  pTimerCtl.DualChannelDacReset = HRTIM_TIMER_DCDR_COUNTER;
  pTimerCtl.DualChannelDacStep = HRTIM_TIMER_DCDS_CMP2;
  pTimerCtl.DualChannelDacEnable = HRTIM_TIMER_DCDE_ENABLED;
  if (HAL_HRTIM_WaveformTimerControl(&hhrtim1, HRTIM_TIMERINDEX_TIMER_C, &pTimerCtl) != HAL_OK)
  {
    Error_Handler();
  }
  pTimerCfg.InterruptRequests = HRTIM_TIM_IT_NONE;
  pTimerCfg.DMARequests = HRTIM_TIM_DMA_NONE;
  pTimerCfg.DMASrcAddress = 0x0000;
  pTimerCfg.DMADstAddress = 0x0000;
  pTimerCfg.DMASize = 0x1;
  pTimerCfg.HalfModeEnable = HRTIM_HALFMODE_DISABLED;
  pTimerCfg.InterleavedMode = HRTIM_INTERLEAVED_MODE_DISABLED;
  pTimerCfg.StartOnSync = HRTIM_SYNCSTART_DISABLED;
  pTimerCfg.ResetOnSync = HRTIM_SYNCRESET_DISABLED;
  pTimerCfg.DACSynchro = HRTIM_DACSYNC_NONE;
  pTimerCfg.PreloadEnable = HRTIM_PRELOAD_DISABLED;
  pTimerCfg.UpdateGating = HRTIM_UPDATEGATING_INDEPENDENT;
  pTimerCfg.BurstMode = HRTIM_TIMERBURSTMODE_MAINTAINCLOCK;
  pTimerCfg.RepetitionUpdate = HRTIM_UPDATEONREPETITION_DISABLED;
  pTimerCfg.PushPull = HRTIM_TIMPUSHPULLMODE_DISABLED;
  pTimerCfg.FaultEnable = HRTIM_TIMFAULTENABLE_NONE;
  pTimerCfg.FaultLock = HRTIM_TIMFAULTLOCK_READWRITE;
  pTimerCfg.DeadTimeInsertion = HRTIM_TIMDEADTIMEINSERTION_ENABLED;
  pTimerCfg.DelayedProtectionMode = HRTIM_TIMER_A_B_C_DELAYEDPROTECTION_DISABLED;
  pTimerCfg.UpdateTrigger = HRTIM_TIMUPDATETRIGGER_NONE;
  pTimerCfg.ResetTrigger = HRTIM_TIMRESETTRIGGER_NONE;
  pTimerCfg.ResetUpdate = HRTIM_TIMUPDATEONRESET_DISABLED;
  pTimerCfg.ReSyncUpdate = HRTIM_TIMERESYNC_UPDATE_UNCONDITIONAL;
  if (HAL_HRTIM_WaveformTimerConfig(&hhrtim1, HRTIM_TIMERINDEX_TIMER_C, &pTimerCfg) != HAL_OK)
  {
    Error_Handler();
  }
  pCompareCfg.CompareValue = 21760;
  if (HAL_HRTIM_WaveformCompareConfig(&hhrtim1, HRTIM_TIMERINDEX_TIMER_C, HRTIM_COMPAREUNIT_1, &pCompareCfg) != HAL_OK)
  {
    Error_Handler();
  }
  pCompareCfg.CompareValue = 1000;
  pCompareCfg.AutoDelayedMode = HRTIM_AUTODELAYEDMODE_REGULAR;
  pCompareCfg.AutoDelayedTimeout = 0x0000;

  if (HAL_HRTIM_WaveformCompareConfig(&hhrtim1, HRTIM_TIMERINDEX_TIMER_C, HRTIM_COMPAREUNIT_2, &pCompareCfg) != HAL_OK)
  {
    Error_Handler();
  }
  pCompareCfg.CompareValue = 2720;
  if (HAL_HRTIM_WaveformCompareConfig(&hhrtim1, HRTIM_TIMERINDEX_TIMER_C, HRTIM_COMPAREUNIT_3, &pCompareCfg) != HAL_OK)
  {
    Error_Handler();
  }
  pCompareCfg.CompareValue = 1088;
  pCompareCfg.AutoDelayedTimeout = 0x0000;

  if (HAL_HRTIM_WaveformCompareConfig(&hhrtim1, HRTIM_TIMERINDEX_TIMER_C, HRTIM_COMPAREUNIT_4, &pCompareCfg) != HAL_OK)
  {
    Error_Handler();
  }
  pTimerEventFilteringCfg.Filter = HRTIM_TIMEEVFLT_BLANKINGCMP3;
  pTimerEventFilteringCfg.Latch = HRTIM_TIMEVENTLATCH_DISABLED;
  if (HAL_HRTIM_TimerEventFilteringConfig(&hhrtim1, HRTIM_TIMERINDEX_TIMER_C, HRTIM_EVENT_3, &pTimerEventFilteringCfg) != HAL_OK)
  {
    Error_Handler();
  }
  pDeadTimeCfg.Prescaler = HRTIM_TIMDEADTIME_PRESCALERRATIO_MUL8;
  pDeadTimeCfg.RisingValue = 75;
  pDeadTimeCfg.RisingSign = HRTIM_TIMDEADTIME_RISINGSIGN_POSITIVE;
  pDeadTimeCfg.RisingLock = HRTIM_TIMDEADTIME_RISINGLOCK_WRITE;
  pDeadTimeCfg.RisingSignLock = HRTIM_TIMDEADTIME_RISINGSIGNLOCK_WRITE;
  pDeadTimeCfg.FallingValue = 300;
  pDeadTimeCfg.FallingSign = HRTIM_TIMDEADTIME_FALLINGSIGN_POSITIVE;
  pDeadTimeCfg.FallingLock = HRTIM_TIMDEADTIME_FALLINGLOCK_WRITE;
  pDeadTimeCfg.FallingSignLock = HRTIM_TIMDEADTIME_FALLINGSIGNLOCK_WRITE;
  if (HAL_HRTIM_DeadTimeConfig(&hhrtim1, HRTIM_TIMERINDEX_TIMER_C, &pDeadTimeCfg) != HAL_OK)
  {
    Error_Handler();
  }
  pOutputCfg.Polarity = HRTIM_OUTPUTPOLARITY_HIGH;
  pOutputCfg.SetSource = HRTIM_OUTPUTSET_TIMCMP4;
  pOutputCfg.ResetSource = HRTIM_OUTPUTRESET_TIMCMP1|HRTIM_OUTPUTRESET_EEV_3;
  pOutputCfg.IdleMode = HRTIM_OUTPUTIDLEMODE_NONE;
  pOutputCfg.IdleLevel = HRTIM_OUTPUTIDLELEVEL_INACTIVE;
  pOutputCfg.FaultLevel = HRTIM_OUTPUTFAULTLEVEL_INACTIVE;
  pOutputCfg.ChopperModeEnable = HRTIM_OUTPUTCHOPPERMODE_DISABLED;
  pOutputCfg.BurstModeEntryDelayed = HRTIM_OUTPUTBURSTMODEENTRY_REGULAR;
  if (HAL_HRTIM_WaveformOutputConfig(&hhrtim1, HRTIM_TIMERINDEX_TIMER_C, HRTIM_OUTPUT_TC1, &pOutputCfg) != HAL_OK)
  {
    Error_Handler();
  }
  pOutputCfg.SetSource = HRTIM_OUTPUTSET_NONE;
  pOutputCfg.ResetSource = HRTIM_OUTPUTRESET_NONE;
  pOutputCfg.FaultLevel = HRTIM_OUTPUTFAULTLEVEL_NONE;
  if (HAL_HRTIM_WaveformOutputConfig(&hhrtim1, HRTIM_TIMERINDEX_TIMER_C, HRTIM_OUTPUT_TC2, &pOutputCfg) != HAL_OK)
  {
    Error_Handler();
  }
  HAL_HRTIM_MspPostInit(&hhrtim1);

}

static void MX_OPAMP5_Init(void)
{

  hopamp5.Instance = OPAMP5;
  hopamp5.Init.PowerMode = OPAMP_POWERMODE_NORMAL;
  hopamp5.Init.Mode = OPAMP_FOLLOWER_MODE;
  hopamp5.Init.NonInvertingInput = OPAMP_NONINVERTINGINPUT_DAC;
  hopamp5.Init.InternalOutput = DISABLE;
  hopamp5.Init.TimerControlledMuxmode = OPAMP_TIMERCONTROLLEDMUXMODE_DISABLE;
  hopamp5.Init.UserTrimming = OPAMP_TRIMMING_FACTORY;
  if (HAL_OPAMP_Init(&hopamp5) != HAL_OK)
  {
    Error_Handler();
  }

}

static void MX_RTC_Init(void)
{

  /** Initialize RTC Only
  */
  hrtc.Instance = RTC;
  hrtc.Init.HourFormat = RTC_HOURFORMAT_24;
  hrtc.Init.AsynchPrediv = 127;
  hrtc.Init.SynchPrediv = 255;
  hrtc.Init.OutPut = RTC_OUTPUT_DISABLE;
  hrtc.Init.OutPutRemap = RTC_OUTPUT_REMAP_NONE;
  hrtc.Init.OutPutPolarity = RTC_OUTPUT_POLARITY_HIGH;
  hrtc.Init.OutPutType = RTC_OUTPUT_TYPE_OPENDRAIN;
  hrtc.Init.OutPutPullUp = RTC_OUTPUT_PULLUP_NONE;
  if (HAL_RTC_Init(&hrtc) != HAL_OK)
  {
    Error_Handler();
  }

}

static void MX_DMA_Init(void)
{

  /* DMA controller clock enable */
  __HAL_RCC_DMAMUX1_CLK_ENABLE();
  __HAL_RCC_DMA1_CLK_ENABLE();

  /* DMA interrupt init */
  /* DMA1_Channel1_IRQn interrupt configuration */
  HAL_NVIC_SetPriority(DMA1_Channel1_IRQn, 0, 0);
  HAL_NVIC_EnableIRQ(DMA1_Channel1_IRQn);

}

static void MX_GPIO_Init(void)
{
  GPIO_InitTypeDef GPIO_InitStruct = {0};

  /* GPIO Ports Clock Enable */
  __HAL_RCC_GPIOC_CLK_ENABLE();
  __HAL_RCC_GPIOA_CLK_ENABLE();
  __HAL_RCC_GPIOB_CLK_ENABLE();

  /*Configure GPIO pin Output Level */
  HAL_GPIO_WritePin(GPIOC, BUCKBOOST_LOAD_1_Pin|BUCKBOOST_LOAD_2_Pin, GPIO_PIN_RESET);

  /*Configure GPIO pin Output Level */
  HAL_GPIO_WritePin(BUCKBOOST_USBPD_EN_GPIO_Port, BUCKBOOST_USBPD_EN_Pin, GPIO_PIN_SET);

  /*Configure GPIO pin Output Level */
  HAL_GPIO_WritePin(GPIOB, LED_LEFT_ORANGE_Pin|BUCKBOOST_N2_DRIVE_Pin|BUCKBOOST_P2_DRIVE_Pin|LED_UP_RED_Pin
                          |LED_RIGHT_GREEN_Pin|GPO1_Pin, GPIO_PIN_RESET);

  /*Configure GPIO pin Output Level */
  HAL_GPIO_WritePin(LED_DOWN_BLUE_GPIO_Port, LED_DOWN_BLUE_Pin, GPIO_PIN_RESET);

  /*Configure GPIO pins : JOYSTICK_SELECT_Pin JOYSTICK_LEFT_Pin JOYSTICK_DOWN_Pin */
  GPIO_InitStruct.Pin = JOYSTICK_SELECT_Pin|JOYSTICK_LEFT_Pin|JOYSTICK_DOWN_Pin;
  GPIO_InitStruct.Mode = GPIO_MODE_IT_RISING;
  GPIO_InitStruct.Pull = GPIO_PULLUP;
  HAL_GPIO_Init(GPIOC, &GPIO_InitStruct);

  /*Configure GPIO pins : BUCKBOOST_LOAD_1_Pin BUCKBOOST_LOAD_2_Pin BUCKBOOST_USBPD_EN_Pin */
  GPIO_InitStruct.Pin = BUCKBOOST_LOAD_1_Pin|BUCKBOOST_LOAD_2_Pin|BUCKBOOST_USBPD_EN_Pin;
  GPIO_InitStruct.Mode = GPIO_MODE_OUTPUT_PP;
  GPIO_InitStruct.Pull = GPIO_NOPULL;
  GPIO_InitStruct.Speed = GPIO_SPEED_FREQ_LOW;
  HAL_GPIO_Init(GPIOC, &GPIO_InitStruct);

  /*Configure GPIO pins : LED_LEFT_ORANGE_Pin BUCKBOOST_N2_DRIVE_Pin BUCKBOOST_P2_DRIVE_Pin LED_UP_RED_Pin
                           LED_RIGHT_GREEN_Pin */
  GPIO_InitStruct.Pin = LED_LEFT_ORANGE_Pin|BUCKBOOST_N2_DRIVE_Pin|BUCKBOOST_P2_DRIVE_Pin|LED_UP_RED_Pin
                          |LED_RIGHT_GREEN_Pin;
  GPIO_InitStruct.Mode = GPIO_MODE_OUTPUT_PP;
  GPIO_InitStruct.Pull = GPIO_NOPULL;
  GPIO_InitStruct.Speed = GPIO_SPEED_FREQ_LOW;
  HAL_GPIO_Init(GPIOB, &GPIO_InitStruct);

  /*Configure GPIO pins : JOYSTICK_RIGHT_Pin JOYSTICK_UP_Pin */
  GPIO_InitStruct.Pin = JOYSTICK_RIGHT_Pin|JOYSTICK_UP_Pin;
  GPIO_InitStruct.Mode = GPIO_MODE_IT_RISING;
  GPIO_InitStruct.Pull = GPIO_PULLUP;
  HAL_GPIO_Init(GPIOB, &GPIO_InitStruct);

  /*Configure GPIO pin : LED_DOWN_BLUE_Pin */
  GPIO_InitStruct.Pin = LED_DOWN_BLUE_Pin;
  GPIO_InitStruct.Mode = GPIO_MODE_OUTPUT_PP;
  GPIO_InitStruct.Pull = GPIO_NOPULL;
  GPIO_InitStruct.Speed = GPIO_SPEED_FREQ_LOW;
  HAL_GPIO_Init(LED_DOWN_BLUE_GPIO_Port, &GPIO_InitStruct);

  /*Configure GPIO pins : PC10 PC11 */
  GPIO_InitStruct.Pin = GPIO_PIN_10|GPIO_PIN_11;
  GPIO_InitStruct.Mode = GPIO_MODE_AF_PP;
  GPIO_InitStruct.Pull = GPIO_NOPULL;
  GPIO_InitStruct.Speed = GPIO_SPEED_FREQ_LOW;
  GPIO_InitStruct.Alternate = GPIO_AF7_USART3;
  HAL_GPIO_Init(GPIOC, &GPIO_InitStruct);

  /*Configure GPIO pin : GPO1_Pin */
  GPIO_InitStruct.Pin = GPO1_Pin;
  GPIO_InitStruct.Mode = GPIO_MODE_OUTPUT_PP;
  GPIO_InitStruct.Pull = GPIO_NOPULL;
  GPIO_InitStruct.Speed = GPIO_SPEED_FREQ_VERY_HIGH;
  HAL_GPIO_Init(GPO1_GPIO_Port, &GPIO_InitStruct);

  /* EXTI interrupt init*/
  HAL_NVIC_SetPriority(EXTI2_IRQn, 0, 0);
  HAL_NVIC_EnableIRQ(EXTI2_IRQn);

  HAL_NVIC_SetPriority(EXTI4_IRQn, 0, 0);
  HAL_NVIC_EnableIRQ(EXTI4_IRQn);

  HAL_NVIC_SetPriority(EXTI9_5_IRQn, 0, 0);
  HAL_NVIC_EnableIRQ(EXTI9_5_IRQn);

  HAL_NVIC_SetPriority(EXTI15_10_IRQn, 0, 0);
  HAL_NVIC_EnableIRQ(EXTI15_10_IRQn);

}

void Error_Handler(void)
{
  /* USER CODE BEGIN Error_Handler_Debug */
  /* User can add his own implementation to report the HAL error return state */
	Demo_Error_Handler();

  /* USER CODE END Error_Handler_Debug */
}

/************************ (C) COPYRIGHT STMicroelectronics *****END OF FILE****/
